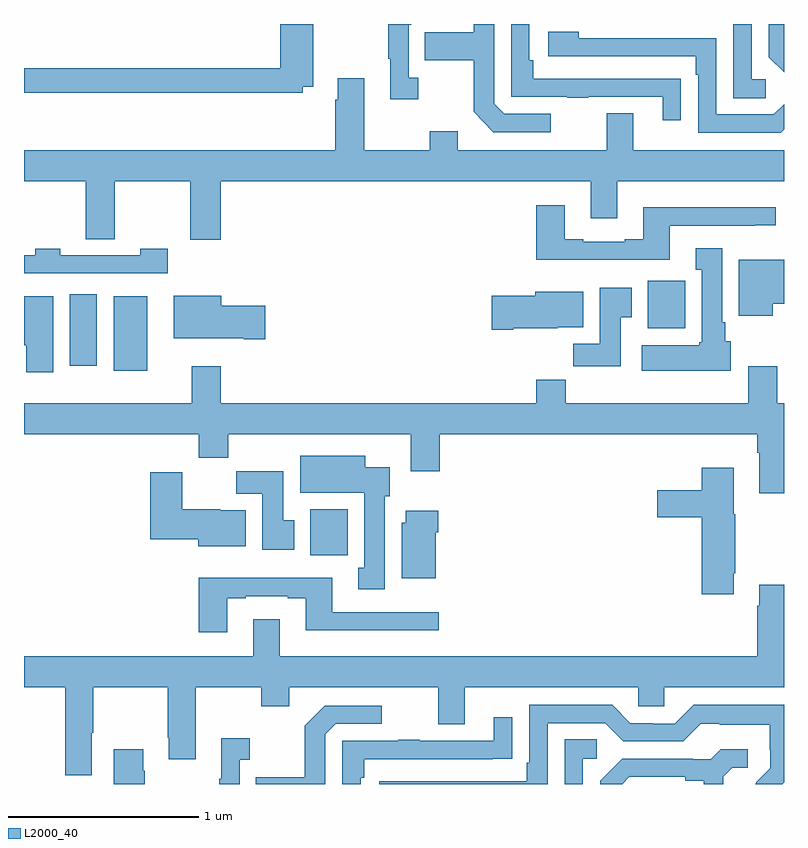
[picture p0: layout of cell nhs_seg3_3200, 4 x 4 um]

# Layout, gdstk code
import gdstk
lib = gdstk.Library(unit=1e-6, precision=1e-09)
def R(c, l, rs):  # rectangles x0, y0, x1, y1
    for r in rs: c.add(gdstk.rectangle(r[:2], r[2:], *l))
def P(c, l, *ps):  # polygons
    for p in ps: c.add(gdstk.Polygon(p, *l))
L2000_40 = (2000, 40)

nhs_seg3_3200 = lib.new_cell('nhs_seg3_3200')
R(nhs_seg3_3200, L2000_40, [(278.507,709.604,278.704,709.846), (277.472,710.576,277.648,710.968), (277.241,710.601,277.384,710.977), (280.283,710.798,280.479,711.049)])
P(nhs_seg3_3200, L2000_40, [(279.076,712.118),(279.024,712.118),(279.024,712.397),(279.037,712.397),(279.037,712.4),(278.916,712.4),(278.916,712.217),(278.927,712.217),(278.927,712.005),(279.076,712.005)],
  [(278.466,712.07),(278.523,712.07),(278.523,712.4),(278.348,712.4),(278.348,712.166),(277,712.166),(277,712.038),(278.466,712.038)],
  [(280.903,712.11),(280.83,712.11),(280.83,712.4),(280.734,712.4),(280.734,712.009),(280.903,712.009)],
  [(281,712.4),(280.92,712.4),(280.92,712.226),(281,712.146)],
  [(279.772,711.927),(279.528,711.927),(279.474,711.981),(279.474,712.4),(279.366,712.4),(279.366,712.357),(279.109,712.357),(279.109,712.21),(279.366,712.21),(279.366,711.937),(279.471,711.831),(279.772,711.831)],
  [(280.457,712.112),(280.355,712.112),(280.355,712.113),(279.68,712.113),(279.68,712.21),(279.66,712.21),(279.66,712.4),(279.564,712.4),(279.564,712.017),(279.859,712.017),(279.859,712.012),(279.971,712.012),(279.971,712.017),(280.361,712.017),(280.361,711.894),(280.457,711.894)],
  [(281,711.845),(281,711.977),(280.947,711.924),(280.644,711.924),(280.644,712.326),(279.92,712.326),(279.92,712.36),(279.759,712.36),(279.759,712.23),(280.535,712.23),(280.535,712.133),(280.548,712.133),(280.548,711.828),(280.983,711.828)],
  [(278.036,711.572),(279.983,711.572),(279.983,711.378),(280.123,711.378),(280.123,711.572),(281,711.572),(281,711.736),(280.207,711.736),(280.207,711.931),(280.067,711.931),(280.067,711.736),(279.283,711.736),(279.283,711.835),(279.136,711.835),(279.136,711.736),(278.791,711.736),(278.791,712.114),(278.651,712.114),(278.651,712.001),(278.639,712.001),(278.639,711.736),(277,711.736),(277,711.572),(277.324,711.572),(277.324,711.268),(277.478,711.268),(277.478,711.572),(277.876,711.572),(277.876,711.264),(278.036,711.264)],
  [(280.399,711.339),(280.847,711.339),(280.847,711.341),(280.956,711.341),(280.956,711.436),(280.259,711.436),(280.259,711.268),(280.163,711.268),(280.163,711.255),(279.943,711.255),(279.943,711.268),(279.847,711.268),(279.847,711.445),(279.695,711.445),(279.695,711.158),(280.399,711.158)],
  [(280.72,710.73),(280.69,710.73),(280.69,710.83),(280.675,710.83),(280.675,711.22),(280.535,711.22),(280.535,711.107),(280.568,711.107),(280.568,710.724),(280.555,710.724),(280.555,710.71),(280.251,710.71),(280.251,710.576),(280.72,710.576)],
  [(277.756,711.216),(277.611,711.216),(277.611,711.183),(277.191,711.183),(277.191,711.216),(277.059,711.216),(277.059,711.183),(277,711.183),(277,711.087),(277.756,711.087)],
  [(280.942,710.927),(281,710.927),(281,711.16),(280.763,711.16),(280.763,710.864),(280.942,710.864)],
  [(280.141,710.857),(280.198,710.857),(280.198,711.013),(280.031,711.013),(280.031,710.716),(279.892,710.716),(279.892,710.598),(280.141,710.598)],
  [(279.574,710.798),(279.81,710.798),(279.81,710.804),(279.943,710.804),(279.943,710.992),(279.692,710.992),(279.692,710.969),(279.462,710.969),(279.462,710.791),(279.574,710.791)],
  [(278.269,710.918),(278.038,710.918),(278.038,710.971),(277.787,710.971),(277.787,710.747),(278.156,710.747),(278.156,710.74),(278.269,710.74)],
  [(277.153,710.968),(277,710.968),(277,710.709),(277.013,710.709),(277.013,710.568),(277.153,710.568)],
  [(281,710.404),(280.964,710.404),(280.964,710.599),(280.811,710.599),(280.811,710.404),(279.851,710.404),(279.851,710.528),(279.695,710.528),(279.695,710.404),(278.036,710.404),(278.036,710.599),(277.883,710.599),(277.883,710.404),(277,710.404),(277,710.24),(277.919,710.24),(277.919,710.116),(278.075,710.116),(278.075,710.24),(279.035,710.24),(279.035,710.046),(279.188,710.046),(279.188,710.24),(280.859,710.24),(280.859,710.144),(280.871,710.144),(280.871,709.929),(281,709.929)],
  [(278.899,709.914),(278.926,709.914),(278.926,710.068),(278.797,710.068),(278.797,710.128),(278.453,710.128),(278.453,709.934),(278.792,709.934),(278.792,709.538),(278.759,709.538),(278.759,709.425),(278.899,709.425)],
  [(280.735,709.51),(280.743,709.51),(280.743,709.821),(280.735,709.821),(280.735,710.065),(280.568,710.065),(280.568,709.947),(280.332,709.947),(280.332,709.805),(280.568,709.805),(280.568,709.398),(280.735,709.398)],
  [(278.422,709.788),(278.365,709.788),(278.365,710.046),(278.116,710.046),(278.116,709.928),(278.255,709.928),(278.255,709.632),(278.422,709.632)],
  [(278.167,709.84),(278.034,709.84),(278.034,709.846),(277.834,709.846),(277.834,710.041),(277.664,710.041),(277.664,709.688),(277.916,709.688),(277.916,709.652),(278.167,709.652)],
  [(279.166,709.724),(279.179,709.724),(279.179,709.837),(279.008,709.837),(279.008,709.776),(278.987,709.776),(278.987,709.484),(279.166,709.484)],
  [(278.071,709.377),(278.167,709.377),(278.167,709.389),(278.387,709.389),(278.387,709.377),(278.483,709.377),(278.483,709.208),(279.184,709.208),(279.184,709.305),(278.623,709.305),(278.623,709.486),(277.919,709.486),(277.919,709.2),(278.071,709.2)],
  [(277.357,708.67),(277.365,708.67),(277.365,708.908),(277.756,708.908),(277.756,708.643),(277.763,708.643),(277.763,708.531),(277.903,708.531),(277.903,708.908),(278.248,708.908),(278.248,708.809),(278.395,708.809),(278.395,708.908),(279.179,708.908),(279.179,708.714),(279.319,708.714),(279.319,708.908),(280.233,708.908),(280.233,708.81),(280.371,708.81),(280.371,708.908),(281,708.908),(281,709.45),(280.871,709.45),(280.871,709.337),(280.859,709.337),(280.859,709.072),(278.347,709.072),(278.347,709.267),(278.207,709.267),(278.207,709.072),(277,709.072),(277,708.908),(277.217,708.908),(277.217,708.447),(277.357,708.447)],
  [(279.756,708.72),(280.059,708.72),(280.155,708.624),(280.47,708.624),(280.563,708.717),(280.663,708.717),(280.663,708.713),(280.926,708.713),(280.926,708.579),(280.928,708.579),(280.928,708.482),(280.854,708.408),(280.855,708.407),(280.848,708.4),(280.99,708.4),(281,708.41),(281,708.817),(280.525,708.817),(280.425,708.717),(280.31,708.717),(280.31,708.72),(280.191,708.72),(280.095,708.816),(279.66,708.816),(279.66,708.511),(279.647,708.511),(279.647,708.414),(278.871,708.414),(278.871,708.4),(279.756,708.4)],
  [(278.586,708.663),(278.64,708.717),(278.884,708.717),(278.884,708.813),(278.583,708.813),(278.478,708.707),(278.478,708.435),(278.221,708.435),(278.221,708.4),(278.586,708.4)],
  [(278.772,708.434),(278.792,708.434),(278.792,708.531),(279.467,708.531),(279.467,708.532),(279.569,708.532),(279.569,708.751),(279.473,708.751),(279.473,708.627),(279.083,708.627),(279.083,708.632),(278.971,708.632),(278.971,708.627),(278.676,708.627),(278.676,708.4),(278.772,708.4)],
  [(278.136,708.527),(278.188,708.527),(278.188,708.64),(278.039,708.64),(278.039,708.427),(278.028,708.427),(278.028,708.4),(278.136,708.4)],
  [(279.942,708.534),(280.015,708.534),(280.015,708.635),(279.846,708.635),(279.846,708.4),(279.942,708.4)],
  [(277.635,708.47),(277.627,708.47),(277.627,708.583),(277.472,708.583),(277.472,708.4),(277.635,708.4)],
  [(280.186,708.438),(280.481,708.438),(280.481,708.416),(280.577,708.416),(280.577,708.4),(280.681,708.4),(280.681,708.439),(280.728,708.486),(280.81,708.486),(280.81,708.583),(280.666,708.583),(280.614,708.531),(280.52,708.531),(280.52,708.534),(280.148,708.534),(280.032,708.418),(280.032,708.4),(280.148,708.4)])

lib.write_gds('nhs_seg3_3200.gds')
